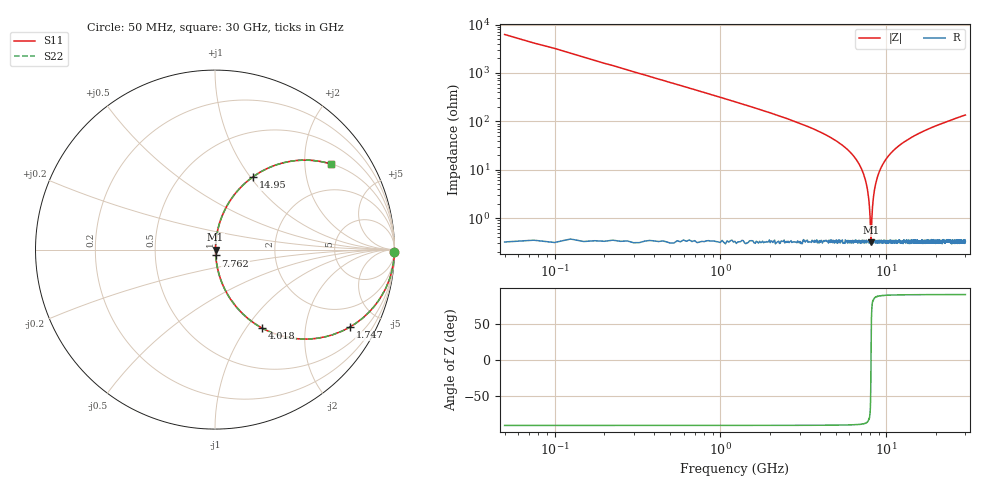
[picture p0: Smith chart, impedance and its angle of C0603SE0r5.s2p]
!	AVX Thin Film Operation 	Date: April 2014
!	Description: Accu-P® Series, Thin Film  SMD RF Capacitor
!	Part Number: 06031J0R5ZBSTR
# MHZ S MA R 50
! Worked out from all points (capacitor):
!   1201 points, 50 MHz to 30 GHz, reference 50 ohm
!   read as one part in series: C = 500 fF near 199.8 MHz
!   lowest |Z| = 316 mohm at 8.087 GHz (marker M1)
!   series resonance near 8.09 GHz, so ESL is about 770 pH
!   S11 on the Smith chart (normalised r, x): 50 MHz: open; 1.747 GHz: 1.01, -3.47; 4.018 GHz: 1.01, -1.19; 7.762 GHz: 1.01, -0.07; 14.95 GHz: 1.01, +1.03; 30 GHz: 1.01, +2.70
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50  1 -0.9  0.016 89.1  0.016 89.1  1 -0.9
299.583  0.996 -5.4  0.094 84.6  0.094 84.6  0.996 -5.4
574.125  0.984 -10.3  0.178 79.7  0.178 79.7  0.984 -10.3
1048.333  0.948 -18.5  0.318 71.4  0.318 71.4  0.948 -18.5
1747.167  0.866 -29.9  0.499 60.0  0.499 60.0  0.866 -29.9
4018.375  0.511 -58.9  0.857 30.7  0.857 30.7  0.511 -58.9
5041.667  0.359 -68.5  0.93 21.1  0.93 21.1  0.359 -68.5
6863.625  0.129 -81.2  0.988 7.4  0.988 7.4  0.129 -81.2
7412.708  0.069 -83.4  0.994 3.9  0.994 3.9  0.069 -83.4
7762.125  0.033 -82.4  0.996 1.9  0.996 1.9  0.033 -82.4
7986.75  0.011 -71.5  0.997 0.6  0.997 0.6  0.011 -71.5
8086.583  0.00328 -6.3  0.997 0.0  0.997 0.0  0.00328 -6.3
8186.417  0.00982 70.1  0.997 -0.5  0.997 -0.5  0.00982 70.1
8436  0.033 82.4  0.996 -1.9  0.996 -1.9  0.033 82.4
8735.5  0.06 83.5  0.995 -3.4  0.995 -3.4  0.06 83.5
10058.29  0.17 79.1  0.982 -9.8  0.982 -9.8  0.17 79.1
12005.04  0.303 71.8  0.95 -17.6  0.95 -17.6  0.303 71.8
14950.12  0.456 62.5  0.887 -27.1  0.887 -27.1  0.456 62.5
15025  0.459 62.3  0.885 -27.3  0.885 -27.3  0.459 62.3
20016.67  0.63 50.7  0.774 -39.1  0.774 -39.1  0.63 50.7
25033.29  0.736 42.4  0.675 -47.4  0.675 -47.4  0.736 42.4
30000  0.803 36.4  0.594 -53.4  0.594 -53.4  0.803 36.4
